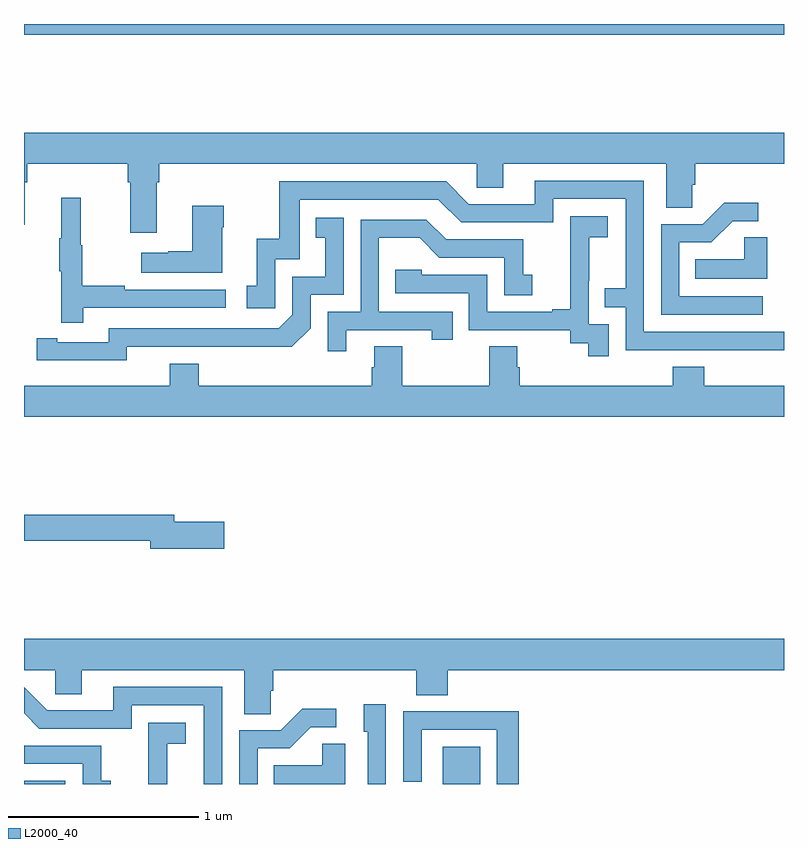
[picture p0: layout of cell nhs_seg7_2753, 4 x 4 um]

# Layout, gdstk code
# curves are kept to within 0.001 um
import gdstk
lib = gdstk.Library(unit=1e-6, precision=1e-09)
def R(c, l, rs):  # rectangles x0, y0, x1, y1
    for r in rs: c.add(gdstk.rectangle(r[:2], r[2:], *l))
def P(c, l, *ps):  # polygons
    for p in ps: c.add(gdstk.Polygon(p, *l))
L2000_40 = (2000, 40)

nhs_seg7_2753 = lib.new_cell('nhs_seg7_2753')
R(nhs_seg7_2753, L2000_40, [(289,1016,289.218,1016.016), (291.203,1016,291.4,1016.197), (289,1019.944,293,1020)])
P(nhs_seg7_2753, L2000_40, [(289.699,1019.168),(289.712,1019.168),(289.712,1019.264),(291.384,1019.264),(291.384,1019.137),(291.523,1019.137),(291.523,1019.264),(292.379,1019.264),(292.379,1019.032),(292.518,1019.032),(292.518,1019.155),(292.532,1019.155),(292.532,1019.264),(293,1019.264),(293,1019.428),(289,1019.428),(289,1018.944),(289.003,1018.944),(289.003,1019.168),(289.016,1019.168),(289.016,1019.264),(289.547,1019.264),(289.547,1019.168),(289.559,1019.168),(289.559,1018.902),(289.699,1018.902)],
  [(293,1018.38),(292.263,1018.38),(292.263,1019.175),(291.689,1019.175),(291.689,1019.052),(291.342,1019.052),(291.222,1019.172),(290.343,1019.172),(290.343,1018.87),(290.225,1018.87),(290.225,1018.623),(290.172,1018.623),(290.172,1018.503),(290.322,1018.503),(290.322,1018.761),(290.451,1018.761),(290.451,1019.076),(291.18,1019.076),(291.3,1018.956),(291.786,1018.956),(291.786,1019.079),(292.167,1019.079),(292.167,1018.61),(292.057,1018.61),(292.057,1018.509),(292.167,1018.509),(292.167,1018.284),(293,1018.283)],
  [(289.313,1018.506),(290.062,1018.506),(290.062,1018.602),(289.529,1018.602),(289.529,1018.622),(289.306,1018.622),(289.306,1018.836),(289.298,1018.836),(289.298,1019.086),(289.196,1019.086),(289.196,1018.873),(289.185,1018.873),(289.185,1018.699),(289.196,1018.699),(289.196,1018.428),(289.313,1018.428)],
  [(292.888,1018.566),(292.449,1018.566),(292.449,1018.851),(292.618,1018.851),(292.729,1018.962),(292.864,1018.962),(292.864,1019.06),(292.685,1019.06),(292.572,1018.947),(292.353,1018.947),(292.353,1018.47),(292.888,1018.47)],
  [(290.044,1018.931),(290.052,1018.931),(290.052,1019.044),(289.886,1019.044),(289.886,1018.805),(289.76,1018.805),(289.76,1018.795),(289.617,1018.795),(289.617,1018.691),(290.044,1018.691)],
  [(292.077,1018.419),(291.972,1018.419),(291.972,1018.649),(291.974,1018.649),(291.974,1018.877),(292.072,1018.877),(292.072,1018.987),(291.874,1018.987),(291.874,1018.781),(291.875,1018.781),(291.875,1018.498),(291.779,1018.498),(291.779,1018.485),(291.438,1018.485),(291.438,1018.68),(291.093,1018.68),(291.093,1018.707),(290.953,1018.707),(290.953,1018.584),(291.342,1018.584),(291.342,1018.389),(291.876,1018.389),(291.876,1018.321),(291.969,1018.321),(291.969,1018.251),(292.077,1018.251)],
  [(289.542,1018.302),(290.41,1018.301),(290.508,1018.398),(290.508,1018.575),(290.682,1018.575),(290.682,1018.981),(290.536,1018.981),(290.536,1018.875),(290.585,1018.875),(290.585,1018.671),(290.412,1018.671),(290.412,1018.47),(290.34,1018.398),(289.446,1018.398),(289.446,1018.326),(289.174,1018.326),(289.174,1018.346),(289.066,1018.346),(289.066,1018.23),(289.542,1018.229)],
  [(290.695,1018.389),(291.146,1018.389),(291.146,1018.338),(291.257,1018.338),(291.257,1018.485),(290.868,1018.485),(290.868,1018.874),(291.082,1018.874),(291.186,1018.77),(291.528,1018.77),(291.528,1018.572),(291.676,1018.572),(291.676,1018.681),(291.627,1018.681),(291.627,1018.866),(291.223,1018.866),(291.118,1018.971),(290.772,1018.971),(290.772,1018.485),(290.598,1018.485),(290.598,1018.278),(290.695,1018.278)],
  [(292.912,1018.877),(292.791,1018.877),(292.791,1018.762),(292.534,1018.762),(292.534,1018.658),(292.912,1018.658)],
  [(293,1018.096),(292.58,1018.096),(292.58,1018.195),(292.415,1018.195),(292.415,1018.096),(291.608,1018.096),(291.608,1018.194),(291.595,1018.194),(291.595,1018.304),(291.448,1018.304),(291.448,1018.096),(290.991,1018.096),(290.991,1018.304),(290.843,1018.304),(290.843,1018.194),(290.831,1018.194),(290.831,1018.096),(289.919,1018.096),(289.919,1018.213),(289.766,1018.213),(289.766,1018.096),(289,1018.096),(289,1017.932),(293,1017.932)],
  [(290.053,1017.38),(289.792,1017.38),(289.792,1017.416),(289,1017.416),(289,1017.28),(289.664,1017.28),(289.664,1017.238),(290.053,1017.238)],
  [(290.298,1016.491),(290.312,1016.491),(290.312,1016.6),(291.065,1016.6),(291.065,1016.467),(291.23,1016.467),(291.23,1016.6),(293,1016.6),(293,1016.764),(289,1016.764),(289,1016.6),(289.164,1016.6),(289.164,1016.473),(289.303,1016.473),(289.303,1016.6),(290.159,1016.6),(290.159,1016.368),(290.298,1016.368)],
  [(290.043,1016.511),(289.469,1016.511),(289.469,1016.388),(289.122,1016.388),(289.002,1016.508),(289,1016.508),(289,1016.372),(289.08,1016.292),(289.566,1016.292),(289.566,1016.415),(289.947,1016.415),(289.947,1016),(290.043,1016)],
  [(290.904,1016.419),(290.789,1016.419),(290.789,1016.274),(290.808,1016.274),(290.808,1016),(290.904,1016)],
  [(290.229,1016.187),(290.398,1016.187),(290.509,1016.298),(290.644,1016.298),(290.644,1016.396),(290.465,1016.396),(290.352,1016.283),(290.133,1016.283),(290.133,1016),(290.229,1016)],
  [(291.605,1016.384),(291.313,1016.384),(291.313,1016.382),(290.997,1016.382),(290.997,1016.013),(291.093,1016.013),(291.093,1016.286),(291.489,1016.286),(291.489,1016),(291.605,1016)],
  [(289.754,1016.213),(289.852,1016.213),(289.852,1016.323),(289.654,1016.323),(289.654,1016.117),(289.655,1016.117),(289.655,1016),(289.754,1016)],
  [(290.692,1016.213),(290.571,1016.213),(290.571,1016.098),(290.314,1016.098),(290.314,1016),(290.692,1016)],
  [(289.456,1016.017),(289.407,1016.017),(289.407,1016.202),(289.003,1016.202),(289,1016.205),(289,1016.106),(289.308,1016.106),(289.308,1016),(289.456,1016)])

lib.write_gds('nhs_seg7_2753.gds')
